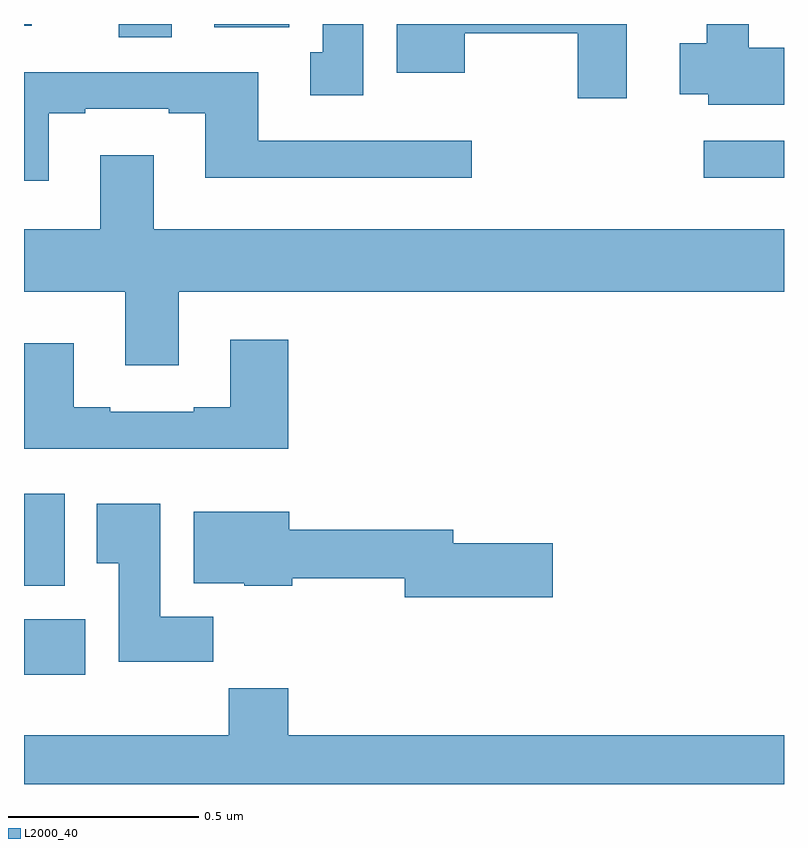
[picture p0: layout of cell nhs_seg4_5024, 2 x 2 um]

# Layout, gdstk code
import gdstk
lib = gdstk.Library(unit=1e-6, precision=1e-09)
def R(c, l, rs):  # rectangles x0, y0, x1, y1
    for r in rs: c.add(gdstk.rectangle(r[:2], r[2:], *l))
def P(c, l, *ps):  # polygons
    for p in ps: c.add(gdstk.Polygon(p, *l))
L2000_40 = (2000, 40)

nhs_seg4_5024 = lib.new_cell('nhs_seg4_5024')
R(nhs_seg4_5024, L2000_40, [(173,753.188,173.161,753.334), (173,753.422,173.107,753.664), (174.789,754.496,175,754.593), (173.249,754.865,173.389,754.9), (173.501,754.892,173.698,754.9), (173,754.896,173.02,754.9)])
P(nhs_seg4_5024, L2000_40, [(175,754.837),(174.907,754.837),(174.907,754.9),(174.797,754.9),(174.797,754.85),(174.725,754.85),(174.725,754.715),(174.801,754.715),(174.801,754.688),(175,754.688)],
  [(174.586,754.9),(173.981,754.9),(173.981,754.772),(174.16,754.772),(174.16,754.876),(174.457,754.876),(174.457,754.704),(174.586,754.704)],
  [(173.893,754.9),(173.786,754.9),(173.786,754.826),(173.753,754.826),(173.753,754.713),(173.893,754.713)],
  [(173.065,754.665),(173.161,754.665),(173.161,754.677),(173.381,754.677),(173.381,754.665),(173.477,754.665),(173.477,754.496),(174.178,754.496),(174.178,754.593),(173.617,754.593),(173.617,754.773),(173,754.773),(173,754.488),(173.065,754.488)],
  [(173.407,754.196),(175,754.196),(175,754.36),(173.341,754.36),(173.341,754.555),(173.201,754.555),(173.201,754.36),(173,754.36),(173,754.196),(173.267,754.196),(173.267,754.002),(173.407,754.002)],
  [(173.696,754.069),(173.543,754.069),(173.543,753.892),(173.447,753.892),(173.447,753.879),(173.227,753.879),(173.227,753.892),(173.131,753.892),(173.131,754.06),(173,754.06),(173,753.782),(173.696,753.782)],
  [(173.498,753.34),(173.359,753.34),(173.359,753.637),(173.192,753.637),(173.192,753.481),(173.249,753.481),(173.249,753.222),(173.498,753.222)],
  [(174.391,753.533),(174.13,753.533),(174.13,753.569),(173.698,753.569),(173.698,753.616),(173.447,753.616),(173.447,753.428),(173.58,753.428),(173.58,753.422),(173.706,753.422),(173.706,753.441),(174.002,753.441),(174.002,753.391),(174.391,753.391)],
  [(175,753.028),(173.696,753.028),(173.696,753.152),(173.539,753.152),(173.539,753.028),(173,753.028),(173,752.9),(175,752.9)])

lib.write_gds('nhs_seg4_5024.gds')
